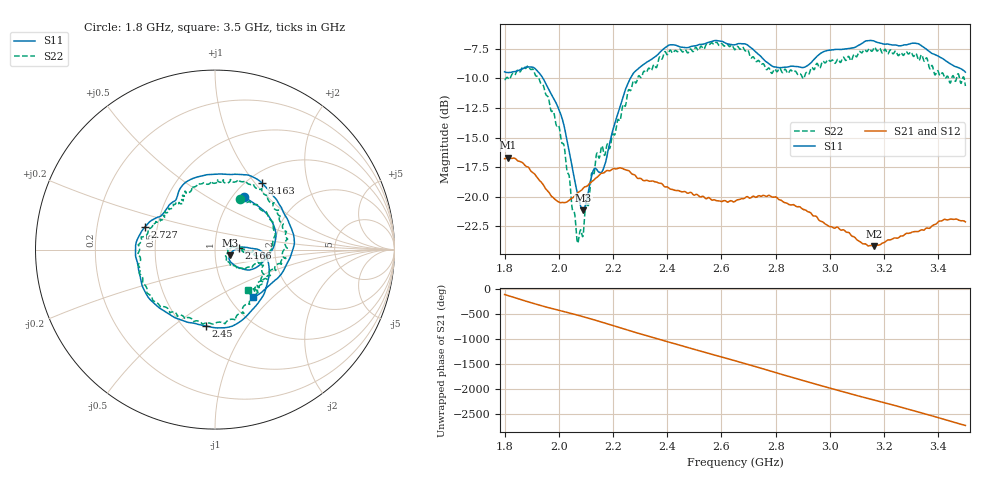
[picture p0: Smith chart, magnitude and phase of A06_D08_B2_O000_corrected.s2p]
! Created with skrf 1.9.0 (http://scikit-rf.org).
# Hz S RI R 50.0
!freq ReS11 ImS11 ReS21 ImS21 ReS12 ImS12 ReS22 ImS22
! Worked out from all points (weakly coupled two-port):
!   1601 points, 1.8 GHz to 3.5 GHz, reference 50 ohm
!   highest |S21| = -16.70 dB at 1.812 GHz (marker M1); lowest = -24.2 dB at 3.162 GHz (marker M2)
!   lowest |S11| = -21.1 dB at 2.09 GHz (marker M3), VSWR 1.19, Z = 58.7 - j3.83 ohm
!   |S11| at or under -10 dB: 1.942 GHz to 2.264 GHz (322 MHz wide, 15.3 % of centre)
!   |S22| runs from -23.9 to -6.9 dB; largest |S21 - S12| = 0.0029
!   S11 on the Smith chart (normalised r, x): 1.8 GHz: 1.12, +0.75; 2.166 GHz: 1.30, +0.03; 2.45 GHz: 0.63, -0.66; 2.727 GHz: 0.43, +0.13; 3.163 GHz: 1.15, +1.09; 3.5 GHz: 1.28, -0.76
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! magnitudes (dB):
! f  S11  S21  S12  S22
! 1.8 GHz  -9.4  -16.8  -16.8  -10.1
! 1.812 GHz  -9.5  -16.7  -16.7  -9.9
! 1.887 GHz  -9.0  -17.5  -17.6  -9.0
! 1.941 GHz  -10.0  -18.9  -18.9  -10.5
! 2.011 GHz  -13.3  -20.5  -20.5  -15.5
! 2.066 GHz  -19.4  -19.8  -19.8  -23.3
! 2.084 GHz  -21.0  -19.4  -19.4  -23.0
! 2.09 GHz  -21.1  -19.3  -19.3  -23.2
! 2.138 GHz  -17.6  -18.4  -18.4  -16.5
! 2.166 GHz  -17.6  -18.0  -18.0  -16.3
! 2.26 GHz  -10.2  -17.8  -17.9  -11.0
! 2.367 GHz  -7.9  -18.8  -18.8  -8.5
! 2.45 GHz  -7.4  -19.6  -19.6  -7.6
! 2.65 GHz  -7.2  -20.4  -20.4  -7.6
! 2.727 GHz  -7.8  -20.1  -20.1  -8.5
! 2.802 GHz  -9.1  -20.0  -20.1  -9.4
! 2.934 GHz  -8.6  -21.5  -21.5  -9.1
! 3.162 GHz  -6.8  -24.2  -24.1  -7.4
! 3.163 GHz  -6.8  -24.2  -24.1  -7.4
! 3.217 GHz  -7.1  -23.6  -23.6  -7.8
! 3.326 GHz  -7.1  -22.9  -22.9  -8.4
! 3.5 GHz  -9.5  -22.1  -22.1  -10.6
